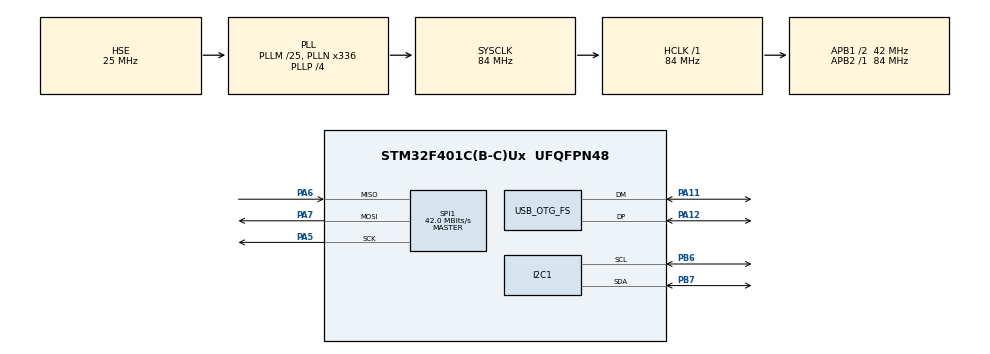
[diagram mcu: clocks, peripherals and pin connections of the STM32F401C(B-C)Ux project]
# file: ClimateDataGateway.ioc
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Mcu.Family=STM32F4
Mcu.Name=STM32F401C(B-C)Ux
Mcu.Package=UFQFPN48
NVIC.OTG_FS_IRQn=true\:0\:0\:false\:false\:true\:false\:true\:true
NVIC.PriorityGroup=NVIC_PRIORITYGROUP_4
NVIC.TIM1_UP_TIM10_IRQn=true\:0\:0\:false\:false\:true\:true\:true\:true
PA11.Mode=Device_Only
PA11.Signal=USB_OTG_FS_DM
PA12.Mode=Device_Only
PA12.Signal=USB_OTG_FS_DP
PA5.Mode=Full_Duplex_Master
PA5.Signal=SPI1_SCK
PA6.Mode=Full_Duplex_Master
PA6.Signal=SPI1_MISO
PA7.Mode=Full_Duplex_Master
PA7.Signal=SPI1_MOSI
PB6.Mode=I2C
PB6.Signal=I2C1_SCL
PB7.Mode=I2C
PB7.Signal=I2C1_SDA
PH0\ -\ OSC_IN.Mode=HSE-External-Oscillator
PH0\ -\ OSC_IN.Signal=RCC_OSC_IN
PH1\ -\ OSC_OUT.Mode=HSE-External-Oscillator
PH1\ -\ OSC_OUT.Signal=RCC_OSC_OUT
ProjectManager.HeapSize=0x200
ProjectManager.StackSize=0x400
ProjectManager.TargetToolchain=CMake
RCC.48MHZClocksFreq_Value=48000000
RCC.AHBFreq_Value=84000000
RCC.APB1CLKDivider=RCC_HCLK_DIV2
RCC.APB1Freq_Value=42000000
RCC.APB1TimFreq_Value=84000000
RCC.APB2Freq_Value=84000000
RCC.APB2TimFreq_Value=84000000
RCC.CortexFreq_Value=84000000
RCC.HCLKFreq_Value=84000000
RCC.HSE_VALUE=25000000
RCC.HSI_VALUE=16000000
RCC.LSE_VALUE=32768
RCC.PLLM=25
RCC.PLLN=336
RCC.PLLP=RCC_PLLP_DIV4
RCC.PLLQ=7
RCC.SYSCLKFreq_VALUE=84000000
RCC.SYSCLKSource=RCC_SYSCLKSOURCE_PLLCLK
RCC.VCOOutputFreq_Value=336000000
SPI1.CalculateBaudRate=42.0 MBits/s
SPI1.Direction=SPI_DIRECTION_2LINES
SPI1.Mode=SPI_MODE_MASTER
SPI1.VirtualType=VM_MASTER
TIM10.AutoReloadPreload=TIM_AUTORELOAD_PRELOAD_DISABLE
TIM10.Period=41999
TIM10.Prescaler=1
USB_DEVICE.CLASS_NAME_FS=CDC
USB_DEVICE.VirtualMode=Cdc
USB_DEVICE.VirtualModeFS=Cdc_FS
USB_OTG_FS.VirtualMode=Device_Only
VP_TIM10_VS_ClockSourceINT.Mode=Enable_Timer
VP_USB_DEVICE_VS_USB_DEVICE_CDC_FS.Mode=CDC_FS
board=custom

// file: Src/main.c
/* USER CODE BEGIN Header */
/**
  ******************************************************************************
  * @file           : main.c
  * @brief          : Main program body
  ******************************************************************************
  * @attention
  *
  * Copyright (c) 2026 STMicroelectronics.
  * All rights reserved.
  *
  * This software is licensed under terms that can be found in the LICENSE file
  * in the root directory of this software component.
  * If no LICENSE file comes with this software, it is provided AS-IS.
  *
  ******************************************************************************
  */
/* USER CODE END Header */
#include "main.h"
#include "usb_device.h"

/* USER CODE BEGIN Includes */
#include "sht_40.h"
#include "sht40_polling.h"
#include "software_timer.h"
/* USER CODE END Includes */

/* USER CODE BEGIN PD */
#define SHT40_I2C_ADDR 0x44

/* USER CODE END PD */

I2C_HandleTypeDef hi2c1;

SPI_HandleTypeDef hspi1;

TIM_HandleTypeDef htim10;

/* USER CODE BEGIN PV */
Sht40Handle sht40Handle;
Sht40PollingHandle sht40PollingHandle;

/* USER CODE END PV */

void SystemClock_Config(void);
static void MX_GPIO_Init(void);
static void MX_I2C1_Init(void);
static void MX_SPI1_Init(void);
static void MX_TIM10_Init(void);
/* USER CODE BEGIN PFP */
static void SHT40_Init(void);
static void SHT40_PollingInit(void);

/* USER CODE END PFP */

int main(void)
{

  /* MCU Configuration--------------------------------------------------------*/

  /* Reset of all peripherals, Initializes the Flash interface and the Systick. */
  HAL_Init();

  /* Configure the system clock */
  SystemClock_Config();

  /* Initialize all configured peripherals */
  MX_GPIO_Init();
  MX_I2C1_Init();
  MX_SPI1_Init();
  MX_USB_DEVICE_Init();
  MX_TIM10_Init();
  /* USER CODE BEGIN 2 */
  SHT40_Init();
  SHT40_PollingInit();
  HAL_TIM_Base_Start_IT(&htim10);

  sht40_polling_start(&sht40PollingHandle);
  /* USER CODE END 2 */

  /* Infinite loop */
  while (1)
  {

    /* USER CODE BEGIN 3 */
    software_timer_process();
  }
  /* USER CODE END 3 */
}

void SystemClock_Config(void)
{
  RCC_OscInitTypeDef RCC_OscInitStruct = {0};
  RCC_ClkInitTypeDef RCC_ClkInitStruct = {0};

  /** Configure the main internal regulator output voltage
  */
  __HAL_RCC_PWR_CLK_ENABLE();
  __HAL_PWR_VOLTAGESCALING_CONFIG(PWR_REGULATOR_VOLTAGE_SCALE2);

  /** Initializes the RCC Oscillators according to the specified parameters
  * in the RCC_OscInitTypeDef structure.
  */
  RCC_OscInitStruct.OscillatorType = RCC_OSCILLATORTYPE_HSE;
  RCC_OscInitStruct.HSEState = RCC_HSE_ON;
  RCC_OscInitStruct.PLL.PLLState = RCC_PLL_ON;
  RCC_OscInitStruct.PLL.PLLSource = RCC_PLLSOURCE_HSE;
  RCC_OscInitStruct.PLL.PLLM = 25;
  RCC_OscInitStruct.PLL.PLLN = 336;
  RCC_OscInitStruct.PLL.PLLP = RCC_PLLP_DIV4;
  RCC_OscInitStruct.PLL.PLLQ = 7;
  if (HAL_RCC_OscConfig(&RCC_OscInitStruct) != HAL_OK)
  {
    Error_Handler();
  }

  /** Initializes the CPU, AHB and APB buses clocks
  */
  RCC_ClkInitStruct.ClockType = RCC_CLOCKTYPE_HCLK|RCC_CLOCKTYPE_SYSCLK
                              |RCC_CLOCKTYPE_PCLK1|RCC_CLOCKTYPE_PCLK2;
  RCC_ClkInitStruct.SYSCLKSource = RCC_SYSCLKSOURCE_PLLCLK;
  RCC_ClkInitStruct.AHBCLKDivider = RCC_SYSCLK_DIV1;
  RCC_ClkInitStruct.APB1CLKDivider = RCC_HCLK_DIV2;
  RCC_ClkInitStruct.APB2CLKDivider = RCC_HCLK_DIV1;

  if (HAL_RCC_ClockConfig(&RCC_ClkInitStruct, FLASH_LATENCY_2) != HAL_OK)
  {
    Error_Handler();
  }
}

static void MX_I2C1_Init(void)
{

  hi2c1.Instance = I2C1;
  hi2c1.Init.ClockSpeed = 100000;
  hi2c1.Init.DutyCycle = I2C_DUTYCYCLE_2;
  hi2c1.Init.OwnAddress1 = 0;
  hi2c1.Init.AddressingMode = I2C_ADDRESSINGMODE_7BIT;
  hi2c1.Init.DualAddressMode = I2C_DUALADDRESS_DISABLE;
  hi2c1.Init.OwnAddress2 = 0;
  hi2c1.Init.GeneralCallMode = I2C_GENERALCALL_DISABLE;
  hi2c1.Init.NoStretchMode = I2C_NOSTRETCH_DISABLE;
  if (HAL_I2C_Init(&hi2c1) != HAL_OK)
  {
    Error_Handler();
  }

}

static void MX_SPI1_Init(void)
{

  /* SPI1 parameter configuration*/
  hspi1.Instance = SPI1;
  hspi1.Init.Mode = SPI_MODE_MASTER;
  hspi1.Init.Direction = SPI_DIRECTION_2LINES;
  hspi1.Init.DataSize = SPI_DATASIZE_8BIT;
  hspi1.Init.CLKPolarity = SPI_POLARITY_LOW;
  hspi1.Init.CLKPhase = SPI_PHASE_1EDGE;
  hspi1.Init.NSS = SPI_NSS_SOFT;
  hspi1.Init.BaudRatePrescaler = SPI_BAUDRATEPRESCALER_2;
  hspi1.Init.FirstBit = SPI_FIRSTBIT_MSB;
  hspi1.Init.TIMode = SPI_TIMODE_DISABLE;
  hspi1.Init.CRCCalculation = SPI_CRCCALCULATION_DISABLE;
  hspi1.Init.CRCPolynomial = 10;
  if (HAL_SPI_Init(&hspi1) != HAL_OK)
  {
    Error_Handler();
  }

}

static void MX_TIM10_Init(void)
{

  /* USER CODE BEGIN TIM10_Init 1 */

  // -----------------------------------------
  // Configure timer to an interval of 1ms
  // 84 MHz Clock Rate / Prescaler 2 = 42 MHz
  // 42000 kHz / 42000 = 1 kHz = 1ms period
  // -----------------------------------------

  /* USER CODE END TIM10_Init 1 */
  htim10.Instance = TIM10;
  htim10.Init.Prescaler = 1;
  htim10.Init.CounterMode = TIM_COUNTERMODE_UP;
  htim10.Init.Period = 41999;
  htim10.Init.ClockDivision = TIM_CLOCKDIVISION_DIV1;
  htim10.Init.AutoReloadPreload = TIM_AUTORELOAD_PRELOAD_DISABLE;
  if (HAL_TIM_Base_Init(&htim10) != HAL_OK)
  {
    Error_Handler();
  }

}

static void MX_GPIO_Init(void)
{

  /* GPIO Ports Clock Enable */
  __HAL_RCC_GPIOH_CLK_ENABLE();
  __HAL_RCC_GPIOA_CLK_ENABLE();
  __HAL_RCC_GPIOB_CLK_ENABLE();

}

/* USER CODE BEGIN 4 */
static void SHT40_Init(void)
{
  if (sht40_init(&sht40Handle, &hi2c1, SHT40_I2C_ADDR) != HAL_OK)
  {
    Error_Handler();
  }
}

static void SHT40_PollingInit(void)
{
  if (sht40_polling_init(&sht40PollingHandle, &sht40Handle) != HAL_OK)
  {
    Error_Handler();
  }
}

void HAL_TIM_PeriodElapsedCallback(TIM_HandleTypeDef* htim)
{
  if (htim->Instance == TIM10)
  {
    software_timer_tick_1ms();
  }
}

/* USER CODE END 4 */

void Error_Handler(void)
{
  __disable_irq();
  while (1)
  {
  }
}
